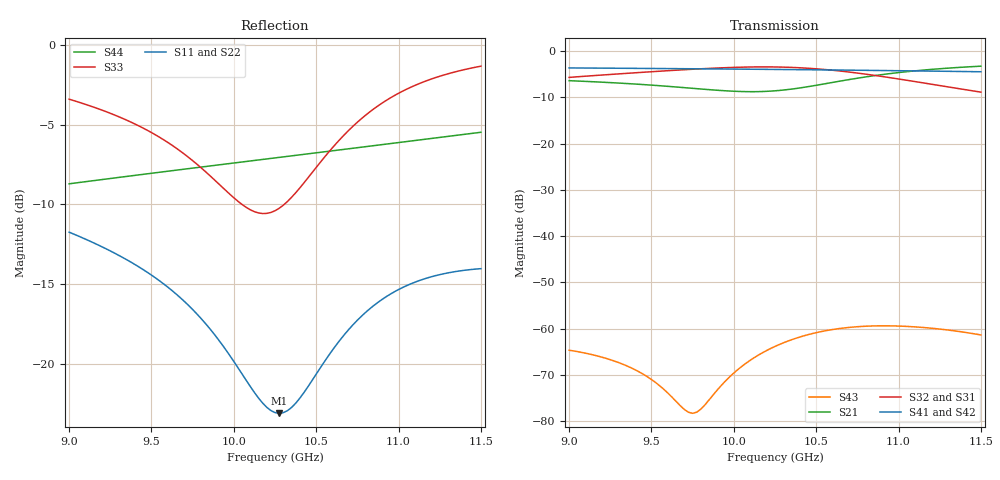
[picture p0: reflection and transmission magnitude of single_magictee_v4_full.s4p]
! Generated from PyAEDT SolutionData; AEDT ExportNetworkData workaround
# GHz S MA R 50
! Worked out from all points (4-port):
!   101 points, 9 GHz to 11.5 GHz, reference 50 ohm
!   strongest paths, dB at 9 GHz, 9.625 GHz, 10.25 GHz, 10.88 GHz, 11.5 GHz:
!     S41: -3.6, -3.8, -4.0, -4.2, -4.5
!     S42: -3.6, -3.8, -4.0, -4.2, -4.5
!     S32: -5.7, -4.2, -3.4, -5.3, -8.9
!     S31: -5.7, -4.2, -3.4, -5.4, -8.9
!     S21: -6.4, -7.7, -8.6, -5.2, -3.3
!     S43: -64.6, -74.8, -63.8, -59.4, -61.3
!   lowest |S11| = -23.1 dB at 10.28 GHz (marker M1), VSWR 1.15, Z = 45.4 - j4.85 ohm
!   |S11| at or under -10 dB: start of sweep to end of sweep
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9  0.2588 125.5  0.4791 174.8  0.5199 -103.6  0.6581 46.1
   0.4791 174.8  0.2603 125.5  0.5202 -103.7  0.6573 -134.1
   0.5199 -103.6  0.5202 -103.7  0.6775 174.8  0.0005861 143.3
   0.6581 46.1  0.6573 -134.1  0.0005861 143.3  0.3672 -115.2
9.6  0.1737 38.0  0.4163 111.2  0.6142 143.4  0.6475 -21.7
     0.4163 111.2  0.174 37.8  0.6145 143.2  0.6472 158.1
     0.6142 143.4  0.6145 143.2  0.4951 15.0  0.0002015 31.4
     0.6475 -21.7  0.6472 158.1  0.0002015 31.4  0.4023 -179.2
9.925  0.1154 -22.6  0.3751 83.4  0.6595 80.7  0.6411 -57.0
       0.3751 83.4  0.1158 -23.0  0.6597 80.4  0.6409 122.8
       0.6595 80.7  0.6597 80.4  0.3603 -84.4  0.0002452 67.8
       0.6411 -57.0  0.6409 122.8  0.0002452 67.8  0.4222 147.1
10.275  0.06974 -130.4  0.3758 61.8  0.6728 10.7  0.6335 -94.3
        0.3758 61.8  0.07059 -130.2  0.6729 10.5  0.6333 85.5
        0.6728 10.7  0.6729 10.5  0.3075 136.6  0.0006742 1.9
        0.6335 -94.3  0.6333 85.5  0.0006742 1.9  0.4446 111.3
10.7  0.1283 102.9  0.4928 29.1  0.5941 -74.2  0.6227 -138.7
      0.4928 29.1  0.1266 103.0  0.5941 -74.4  0.623 41.0
      0.5941 -74.2  0.5941 -74.4  0.5423 -10.8  0.001034 -98.3
      0.6227 -138.7  0.623 41.0  0.001034 -98.3  0.4734 68.2
11.05  0.1758 40.2  0.5995 -7.8  0.484 -139.3  0.6127 -174.8
       0.5995 -7.8  0.1736 39.5  0.4843 -139.5  0.6131 4.8
       0.484 -139.3  0.4843 -139.5  0.7288 -101.3  0.00106 -179.7
       0.6127 -174.8  0.6131 4.8  0.00106 -179.7  0.4987 32.8
11.5  0.1987 -23.2  0.6877 -57.4  0.3599 144.5  0.5984 139.3
      0.6877 -57.4  0.1989 -24.7  0.3605 144.3  0.598 -41.2
      0.3599 144.5  0.3605 144.3  0.8605 158.9  0.0008572 78.4
      0.5984 139.3  0.598 -41.2  0.0008572 78.4  0.5333 -12.7
